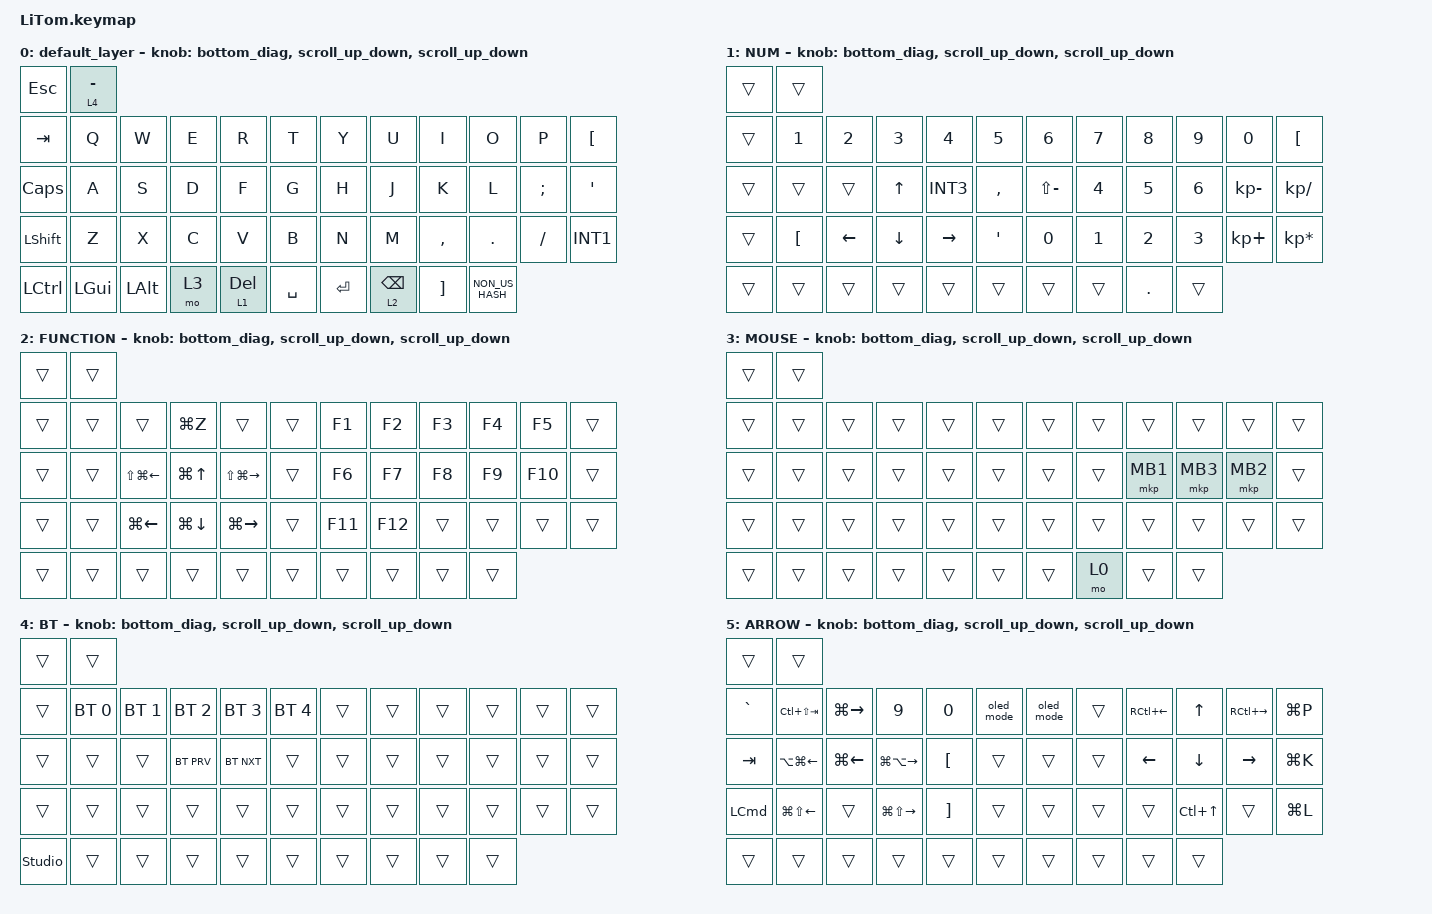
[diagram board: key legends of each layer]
#include <zephyr/dt-bindings/input/input-event-codes.h>
#include <input/processors/runtime-input-processor.dtsi>
#include <behaviors/runtime-input-processor.dtsi>
#include <behaviors/runtime_macro.dtsi>
#include <behaviors/runtime-sensor-rotate.dtsi>
#include <behaviors.dtsi>
#include <dt-bindings/zmk/bt.h>
#include <dt-bindings/zmk/keys.h>
#include <dt-bindings/zmk/pointing.h>

&mouse_runtime_input_processor {
    temp-layer-enabled;
    temp-layer = <3>;
    temp-layer-activation-delay-ms = <0>;
    temp-layer-deactivation-delay-ms = <5000>;
};

#undef ZMK_POINTING_DEFAULT_SCRL_VAL

#define ZMK_POINTING_DEFAULT_SCRL_VAL 80

/ {
    behaviors {
        scroll_up_down: behavior_sensor_rotate_mouse_wheel_up_down {
            compatible = "zmk,behavior-runtime-sensor-rotate";
            label = "ENCODER_MSC_DOWN_UP";
            #sensor-binding-cells = <0>;
            cw-binding = <&msc SCRL_DOWN>;
            ccw-binding = <&msc SCRL_UP>;
            tap-ms = <20>;
        };

        tab_slide: behavior_sensor_rotate_tab_slide {
            compatible = "zmk,behavior-runtime-sensor-rotate";
            label = "ENCODER_TAB_SLIDE";
            #sensor-binding-cells = <0>;
            cw-binding = <&msc SCRL_DOWN>;
            ccw-binding = <&msc SCRL_UP>;
            tap-ms = <20>;
        };

        bottom_diag: behavior_sensor_rotate_bottom_diag {
            compatible = "zmk,behavior-sensor-rotate";
            #sensor-binding-cells = <0>;
            bindings = <&kp S>, <&kp A>;
            tap-ms = <20>;
        };
    };

    keymap: combos {
        compatible = "zmk,combos";

        eisu_base {
            bindings = <&kp LANG2>;
            key-positions = <18 17>;
            require-prior-idle-ms = <0>;
            layers = <0>;
        };

        kana_base {
            bindings = <&kp LANG1>;
            key-positions = <21 22>;
            layers = <0>;
        };

        paren_pair {
            bindings = <&paren_left_cursor>;
            key-positions = <24 25>;
            layers = <0>;
        };
    };

    macros {
        paren_left_cursor: paren_left_cursor {
            compatible = "zmk,behavior-macro";
            #binding-cells = <0>;
            bindings = <&kp LS(N8) &kp LS(N9) &kp LEFT_ARROW>;
            label = "PAREN_LEFT_CURSOR";
        };
    };

    keymap {
        compatible = "zmk,keymap";

        default_layer {
            bindings = <
&kp ESC    &lt 4 MINUS
&kp TAB    &kp Q        &kp W     &kp E  &kp R         &kp T      &kp Y      &kp U            &kp I              &kp O            &kp P     &kp LEFT_BRACKET
&kp CAPS   &kp A        &kp S     &kp D  &kp F         &kp G      &kp H      &kp J            &kp K              &kp L            &kp SEMI  &kp APOS
&kp LSHFT  &kp Z        &kp X     &kp C  &kp V         &kp B      &kp N      &kp M            &kp COMMA          &kp DOT          &kp FSLH  &kp INT1
&kp LCTRL  &kp LGUI     &kp LALT  &mo 3  &lt 1 DELETE  &kp SPACE  &kp ENTER  &lt 2 BACKSPACE  &kp RIGHT_BRACKET  &kp NON_US_HASH
            >;

            sensor-bindings = <
                &bottom_diag
                &scroll_up_down
                &scroll_up_down
            >;
        };

        NUM {
            bindings = <
&trans  &trans
&trans  &kp N1            &kp N2          &kp N3          &kp N4           &kp N5     &kp N6         &kp N7  &kp N8      &kp N9  &kp N0        &kp LEFT_BRACKET
&trans  &trans            &trans          &kp UP_ARROW    &kp INT3         &kp COMMA  &kp LS(MINUS)  &kp N4  &kp N5      &kp N6  &kp KP_MINUS  &kp KP_SLASH
&trans  &kp LEFT_BRACKET  &kp LEFT_ARROW  &kp DOWN_ARROW  &kp RIGHT_ARROW  &kp APOS  &kp NUMBER_0   &kp N1  &kp N2      &kp N3  &kp KP_PLUS   &kp KP_ASTERISK
&trans  &trans            &trans          &trans          &trans           &trans     &trans         &trans  &kp PERIOD  &trans
            >;

            sensor-bindings = <
                &bottom_diag
                &scroll_up_down
                &scroll_up_down
            >;
        };

        FUNCTION {
            bindings = <
&trans  &trans
&trans  &trans  &trans                  &kp LG(Z)           &trans                   &trans  &kp F1   &kp F2   &kp F3  &kp F4  &kp F5   &trans
&trans  &trans  &kp LS(LG(LEFT_ARROW))  &kp LG(UP_ARROW)    &kp LS(LG(RIGHT_ARROW))  &trans  &kp F6   &kp F7   &kp F8  &kp F9  &kp F10  &trans
&trans  &trans  &kp LG(LEFT_ARROW)      &kp LG(DOWN_ARROW)  &kp LG(RIGHT_ARROW)      &trans  &kp F11  &kp F12  &trans  &trans  &trans   &trans
&trans  &trans  &trans                  &trans              &trans                   &trans  &trans   &trans   &trans  &trans
            >;

            sensor-bindings = <
                &bottom_diag
                &scroll_up_down
                &scroll_up_down
            >;
        };

        MOUSE {
            bindings = <
&trans  &trans
&trans  &trans  &trans  &trans  &trans  &trans  &trans  &trans  &trans    &trans    &trans    &trans
&trans  &trans  &trans  &trans  &trans  &trans  &trans  &trans  &mkp MB1  &mkp MB3  &mkp MB2  &trans
&trans  &trans  &trans  &trans  &trans  &trans  &trans  &trans  &trans    &trans    &trans    &trans
&trans  &trans  &trans  &trans  &trans  &trans  &trans  &mo 0   &trans    &trans
            >;

            sensor-bindings = <
                &bottom_diag
                &scroll_up_down
                &scroll_up_down
            >;
        };

        BT {
            bindings = <
&trans          &trans
&trans          &bt BT_SEL 0  &bt BT_SEL 1  &bt BT_SEL 2  &bt BT_SEL 3  &bt BT_SEL 4  &trans  &trans  &trans  &trans  &trans  &trans
&trans          &trans        &trans        &bt BT_PRV    &bt BT_NXT    &trans        &trans  &trans  &trans  &trans  &trans  &trans
&trans          &trans        &trans        &trans        &trans        &trans        &trans  &trans  &trans  &trans  &trans  &trans
&studio_unlock  &trans        &trans        &trans        &trans        &trans        &trans  &trans  &trans  &trans
            >;

            sensor-bindings = <
                &bottom_diag
                &scroll_up_down
                &scroll_up_down
            >;
        };

        ARROW {
            bindings = <
&trans     &trans
&kp GRAVE  &kp LC(LS(TAB))         &kp LG(RIGHT)  &kp NUMBER_9             &kp NUMBER_0       &oled_mode  &oled_mode  &trans  &kp RC(LEFT_ARROW)  &kp UP_ARROW      &kp RC(RIGHT_ARROW)  &kp LG(P)
&kp TAB    &kp LA(LG(LEFT_ARROW))  &kp LG(LEFT)   &kp LG(LA(RIGHT_ARROW))  &kp LEFT_BRACKET   &trans      &trans      &trans  &kp LEFT_ARROW      &kp DOWN_ARROW    &kp RIGHT_ARROW      &kp LG(K)
&kp LCMD   &kp LG(LS(LEFT_ARROW))  &trans         &kp LG(LS(RIGHT_ARROW))  &kp RIGHT_BRACKET  &trans      &trans      &trans  &trans              &kp LC(UP_ARROW)  &trans               &kp LG(L)
&trans     &trans                  &trans         &trans                   &trans             &trans      &trans      &trans  &trans              &trans
            >;

            sensor-bindings = <
                &bottom_diag
                &scroll_up_down
                &scroll_up_down
            >;
        };
    };
};
